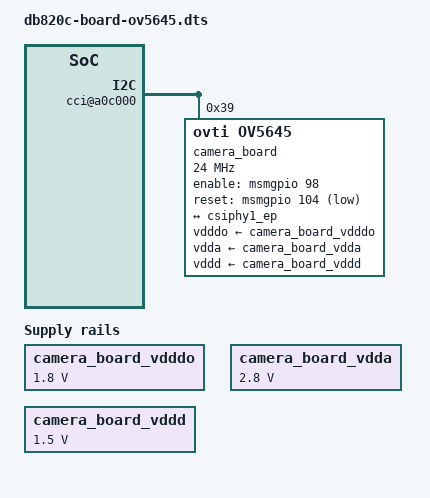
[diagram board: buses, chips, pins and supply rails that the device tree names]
/dts-v1/;
/plugin/;

#include <dt-bindings/clock/qcom,mmcc-msm8996.h>
#include <dt-bindings/gpio/gpio.h>

/ {
	fragment@0 {
		target-path = "/soc";
		__overlay__ {
			camera_board_vdddo: fixedregulator_camera_board@0 {
				compatible = "regulator-fixed";
				regulator-name = "camera_board_vdddo";
				regulator-min-microvolt = <1800000>;
				regulator-max-microvolt = <1800000>;
				regulator-always-on;
			};

			camera_board_vdda: fixedregulator_camera_board@1 {
				compatible = "regulator-fixed";
				regulator-name = "camera_board_vdda";
				regulator-min-microvolt = <2800000>;
				regulator-max-microvolt = <2800000>;
				regulator-always-on;
			};

			camera_board_vddd: fixedregulator_camera_board@2 {
				compatible = "regulator-fixed";
				regulator-name = "camera_board_vddd";
				regulator-min-microvolt = <1500000>;
				regulator-max-microvolt = <1500000>;
				regulator-always-on;
			};
		};
	};

	fragment@1 {
		target-path = "/soc/cci@a0c000";
		__overlay__ {
			status = "ok";

			camera_board@39 {
				compatible = "ovti,ov5645";
				reg = <0x39>;

				enable-gpios = <&msmgpio 98 GPIO_ACTIVE_HIGH>;
				reset-gpios = <&msmgpio 104 GPIO_ACTIVE_LOW>;
				pinctrl-names = "default";
				pinctrl-0 = <&camera_board_default>;

				clocks = <&mmcc CAMSS_MCLK1_CLK>;
				clock-names = "xclk";
				clock-frequency = <24000000>;

				vdddo-supply = <&camera_board_vdddo>;
				vdda-supply = <&camera_board_vdda>;
				vddd-supply = <&camera_board_vddd>;

				status = "ok";

				port {
					camera_board_ep: endpoint {
						clock-lanes = <1>;
						data-lanes = <0 2>;
						remote-endpoint = <&csiphy1_ep>;
					};
				};
			};
		};
	};

	fragment@2 {
		target-path = "/soc/camss@a00000";
		__overlay__ {
			status = "ok";

			ports {
				#address-cells = <1>;
				#size-cells = <0>;
				port@1 {
					reg = <1>;
					csiphy1_ep: endpoint {
						clock-lanes = <7>;
						data-lanes = <0 1>;
						remote-endpoint = <&camera_board_ep>;
						status = "ok";
					};
				};
			};
		};
	};
};
